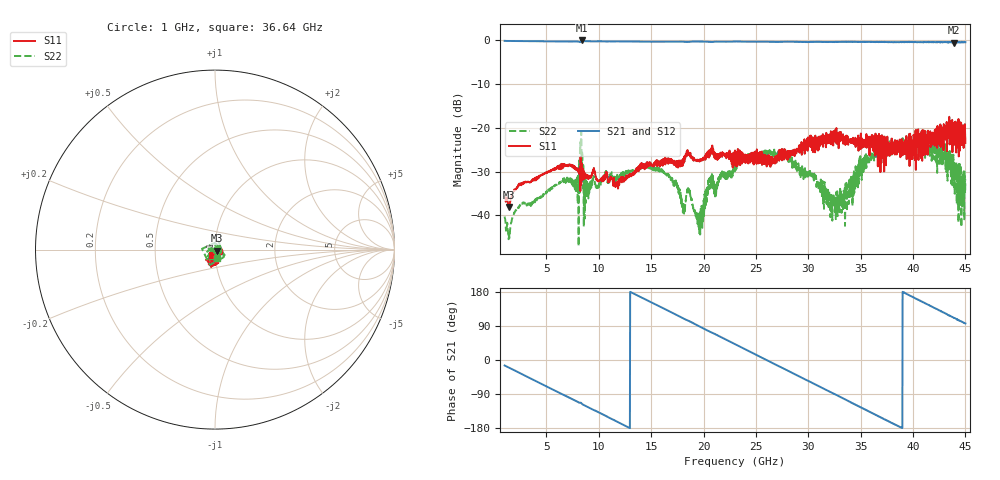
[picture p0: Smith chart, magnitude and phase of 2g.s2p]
!Keysight Technologies,N5247B,MY61255062,A.19.80.06
!Date: Tuesday, May 26, 2026 11:39:26
!Correction: S11(C  2-Port  )
!S21(C  2-Port  )
!S12(C  2-Port  )
!S22(C  2-Port  )
!S2P File: Measurements: S11, S21, S12, S22:
# Hz S  dB  R 50
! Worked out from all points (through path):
!   1601 points, 1 GHz to 45 GHz, reference 50 ohm
!   highest |S21| = -0.04 dB at 8.342 GHz (marker M1); lowest = -0.6 dB at 43.87 GHz (marker M2)
!   group delay of S21, straight-line fit = 38.5 ps
!   lowest |S11| = -38.1 dB at 1.413 GHz (marker M3), VSWR 1.03, Z = 51.1 - j0.645 ohm
!   |S11| at or under -10 dB: start of sweep to end of sweep
!   |S22| runs from -47.1 to -20.9 dB; largest |S21 - S12| = 0.018
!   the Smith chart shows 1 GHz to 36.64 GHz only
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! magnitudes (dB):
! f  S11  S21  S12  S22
! 1 GHz  -35.6  -0.1  -0.1  -40.3
! 1.413 GHz  -38.1  -0.2  -0.2  -44.8
! 2.705 GHz  -32.7  -0.2  -0.2  -37.1
! 6.665 GHz  -28.3  -0.3  -0.3  -31.7
! 7.848 GHz  -29.6  -0.3  -0.3  -31.8
! 8.342 GHz  -28.1  0.0  0.0  -23.2
! 8.783 GHz  -31.5  -0.2  -0.2  -32.0
! 11.72 GHz  -32.4  -0.3  -0.3  -31.7
! 15.69 GHz  -28.2  -0.3  -0.3  -29.7
! 18.05 GHz  -27.1  -0.3  -0.3  -39.0
! 18.66 GHz  -25.8  -0.3  -0.3  -35.1
! 19.56 GHz  -27.5  -0.3  -0.3  -40.7
! 20.66 GHz  -25.0  -0.4  -0.4  -33.8
! 23 GHz  -25.2  -0.3  -0.3  -28.5
! 27.37 GHz  -26.5  -0.4  -0.4  -25.5
! 30.34 GHz  -22.4  -0.4  -0.4  -30.9
! 32.76 GHz  -21.7  -0.4  -0.3  -34.5
! 35.54 GHz  -21.4  -0.4  -0.4  -29.2
! 37.69 GHz  -25.2  -0.4  -0.4  -25.8
! 40.9 GHz  -20.5  -0.4  -0.4  -24.6
! 43.87 GHz  -20.8  -0.6  -0.5  -28.4
! 45 GHz  -23.5  -0.4  -0.4  -31.8
